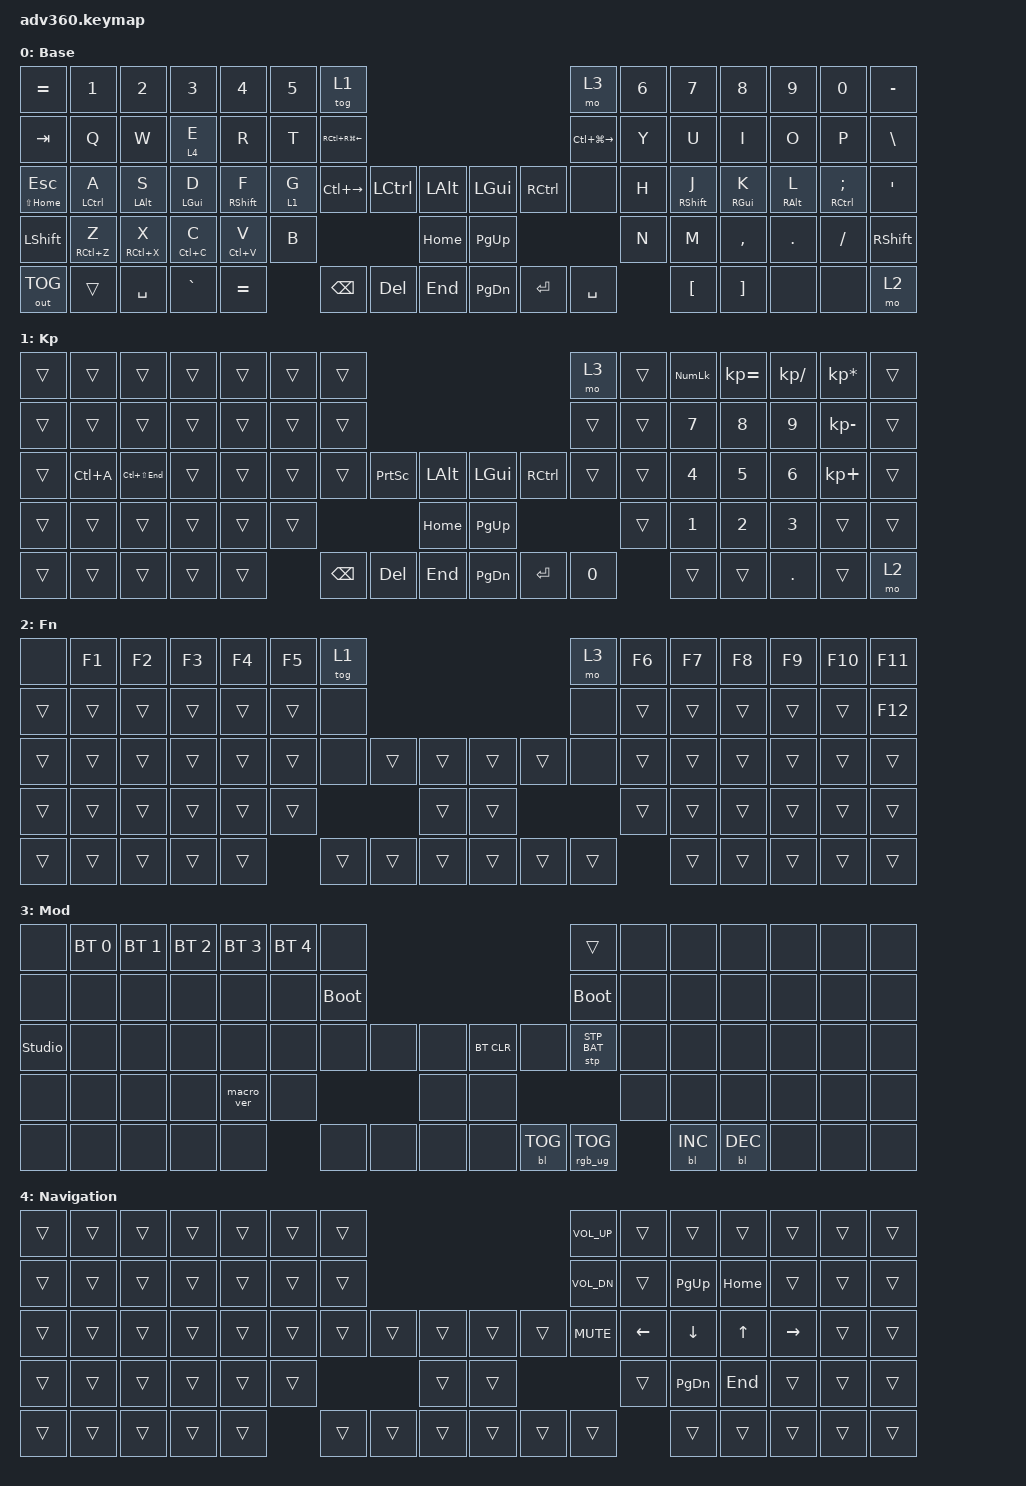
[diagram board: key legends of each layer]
#include <dt-bindings/zmk/stp.h>
#include <behaviors.dtsi>
#include <dt-bindings/zmk/backlight.h>
#include <dt-bindings/zmk/bt.h>
#include <dt-bindings/zmk/keys.h>
#include <dt-bindings/zmk/outputs.h>
#include <dt-bindings/zmk/rgb.h>

/ {
    behaviors {
        #include "macros.dtsi"
      #include "version.dtsi"

        hm: homerow_mods {
            compatible = "zmk,behavior-hold-tap";
            label = "HOMEROW_MODS";
            #binding-cells = <2>;
            tapping-term-ms = <250>;
            quick_tap_ms = <175>;
            flavor = "tap-preferred";
            bindings = <&kp>, <&kp>;
        };

        hl: homerow_layer {
            compatible = "zmk,behavior-hold-tap";
            label = "HOMEROW_LAYER";
            #binding-cells = <2>;
            tapping-term-ms = <250>;
            quick_tap_ms = <175>;
            flavor = "tap-preferred";
            bindings = <&mo>, <&kp>;
        };
    };

    combos {
        compatible = "zmk,combos";

        show_workspaces {
            bindings = <&kp RG(TAB)>;
            key-positions = <20 21>;
        };

        toggle_nav {
            bindings = <&tog 4>;
            key-positions = <23 24 25>;
        };

        toggle_nums {
            bindings = <&tog 1>;
            key-positions = <55 56 57>;
        };
    };

    macros {
        select_to_end_new_tab: select_to_end_new_tab {
            compatible = "zmk,behavior-macro";
            #binding-cells = <0>;
            bindings = <&kp LC(LS(END)) &kp LC(T)>;
            label = "SELECT_TO_END_NEW_TAB";
        };

        push_location: push_location {
            compatible = "zmk,behavior-macro";
            #binding-cells = <0>;
            bindings = <&kp LS(P) &kp U &kp S &kp H &kp MINUS &kp LS(L) &kp O &kp C &kp A &kp T &kp I &kp O &kp N &kp ENTER &tog 0>;
            label = "PUSH_LOCATION";
        };

        pop_location: pop_location {
            compatible = "zmk,behavior-macro";
            #binding-cells = <0>;
            bindings = <&kp LS(P) &kp O &kp P &kp MINUS &kp LS(L) &kp O &kp C &kp A &kp T &kp I &kp O &kp N &kp ENTER &tog 0>;
            label = "POP_LOCATION";
        };

        kitty_new_window: kitty_new_window {
            compatible = "zmk,behavior-macro";
            #binding-cells = <0>;
            bindings = <&kp LC(LS(ENTER))>;
            label = "KITTY_NEW_WINDOW";
        };

        kitty_new_tab: kitty_new_tab {
            compatible = "zmk,behavior-macro";
            #binding-cells = <0>;
            bindings = <&kp LC(SPACE) &kp T>;
            label = "KITTY_NEW_TAB";
        };
    };

    keymap {
        compatible = "zmk,keymap";

        default_layer {
            display-name = "Base";
            bindings = <
&kp EQUAL         &kp N1       &kp N2       &kp N3       &kp N4        &kp N5   &tog 1                                                           &mo 3              &kp N6  &kp N7            &kp N8             &kp N9      &kp N0          &kp MINUS
&kp TAB           &kp Q        &kp W        &hl 4 E      &kp R         &kp T    &kp RC(RG(LEFT))                                                 &kp LC(LG(RIGHT))  &kp Y   &kp U             &kp I              &kp O       &kp P           &kp BSLH
&hm LS(HOME) ESC  &hm LCTRL A  &hm LALT S   &hm LGUI D   &hm RSHIFT F  &hl 1 G  &kp LC(RIGHT)     &kp LCTRL  &kp LALT      &kp LGUI   &kp RCTRL  &none              &kp H   &hm RSHIFT J      &hm RGUI K         &hm RALT L  &hm RCTRL SEMI  &kp SQT
&kp LSHFT         &hm RC(Z) Z  &hm RC(X) X  &hm LC(C) C  &hm LC(V) V   &kp B                                 &kp HOME      &kp PG_UP                                &kp N   &kp M             &kp COMMA          &kp DOT     &kp FSLH        &kp RSHFT
&out OUT_TOG      &trans       &kp SPACE    &kp GRAVE    &kp EQUAL              &kp BSPC          &kp DEL    &kp END       &kp PG_DN  &kp ENTER  &kp SPACE                  &kp LEFT_BRACKET  &kp RIGHT_BRACKET  &none       &none           &mo 2
            >;
        };

        keypad {
            display-name = "Kp";
            bindings = <
&trans  &trans     &trans           &trans  &trans  &trans  &trans                                                         &mo 3   &trans  &kp KP_NUM    &kp KP_EQUAL  &kp KP_DIVIDE  &kp KP_MULTIPLY  &trans
&trans  &trans     &trans           &trans  &trans  &trans  &trans                                                         &trans  &trans  &kp N7        &kp N8        &kp N9         &kp KP_MINUS     &trans
&trans  &kp LC(A)  &kp LC(LS(END))  &trans  &trans  &trans  &trans    &kp PRINTSCREEN  &kp LALT      &kp LGUI   &kp RCTRL  &trans  &trans  &kp NUMBER_4  &kp N5        &kp NUMBER_6   &kp KP_PLUS      &trans
&trans  &trans     &trans           &trans  &trans  &trans                             &kp HOME      &kp PG_UP                     &trans  &kp NUMBER_1  &kp NUMBER_2  &kp NUMBER_3   &trans           &trans
&trans  &trans     &trans           &trans  &trans          &kp BSPC  &kp DEL          &kp END       &kp PG_DN  &kp ENTER  &kp N0          &trans        &trans        &kp PERIOD     &trans           &mo 2
            >;
        };

        fn {
            display-name = "Fn";
            bindings = <
&none   &kp F1  &kp F2  &kp F3  &kp F4  &kp F5  &tog 1                                      &mo 3   &kp F6  &kp F7  &kp F8  &kp F9  &kp F10  &kp F11
&trans  &trans  &trans  &trans  &trans  &trans  &none                                       &none   &trans  &trans  &trans  &trans  &trans   &kp F12
&trans  &trans  &trans  &trans  &trans  &trans  &none   &trans  &trans      &trans  &trans  &none   &trans  &trans  &trans  &trans  &trans   &trans
&trans  &trans  &trans  &trans  &trans  &trans                  &trans      &trans                  &trans  &trans  &trans  &trans  &trans   &trans
&trans  &trans  &trans  &trans  &trans          &trans  &trans  &trans      &trans  &trans  &trans          &trans  &trans  &trans  &trans   &trans
            >;
        };

        mod {
            display-name = "Mod";
            bindings = <
&none           &bt BT_SEL 0  &bt BT_SEL 1  &bt BT_SEL 2  &bt BT_SEL 3  &bt BT_SEL 4  &none                                                  &trans           &none  &none       &none       &none  &none  &none
&none           &none         &none         &none         &none         &none         &bootloader                                            &bootloader      &none  &none       &none       &none  &none  &none
&studio_unlock  &none         &none         &none         &none         &none         &none        &none  &none      &bt BT_CLR  &none       &stp STP_BAT     &none  &none       &none       &none  &none  &none
&none           &none         &none         &none         &macro_ver    &none                             &none      &none                                    &none  &none       &none       &none  &none  &none
&none           &none         &none         &none         &none                       &none        &none  &none      &none       &bl BL_TOG  &rgb_ug RGB_TOG         &bl BL_INC  &bl BL_DEC  &none  &none  &none
            >;
        };

        nav {
            display-name = "Navigation";
            bindings = <
&trans  &trans  &trans  &trans  &trans  &trans  &trans                                      &kp C_VOLUME_UP  &trans    &trans         &trans        &trans     &trans  &trans
&trans  &trans  &trans  &trans  &trans  &trans  &trans                                      &kp C_VOL_DN     &trans    &kp PAGE_UP    &kp HOME      &trans     &trans  &trans
&trans  &trans  &trans  &trans  &trans  &trans  &trans  &trans  &trans      &trans  &trans  &kp K_MUTE       &kp LEFT  &kp DOWN       &kp UP_ARROW  &kp RIGHT  &trans  &trans
&trans  &trans  &trans  &trans  &trans  &trans                  &trans      &trans                           &trans    &kp PAGE_DOWN  &kp END       &trans     &trans  &trans
&trans  &trans  &trans  &trans  &trans          &trans  &trans  &trans      &trans  &trans  &trans                     &trans         &trans        &trans     &trans  &trans
            >;
        };
    };
};
